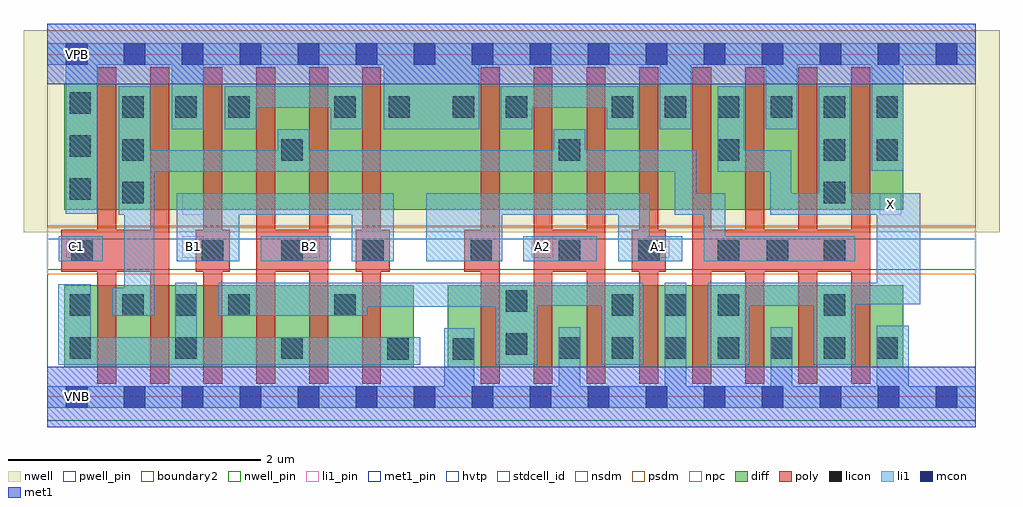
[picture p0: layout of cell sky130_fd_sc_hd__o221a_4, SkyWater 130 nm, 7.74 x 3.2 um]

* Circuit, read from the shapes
.subckt sky130_fd_sc_hd__o221a_4 A1 A2 B1 B2 C1 VGND VNB VPB VPWR X
XM1 n1 C1 n2 VNB sky130_fd_pr__nfet_01v8 w=0.65 l=0.15 m=2
XM2 n3 B1 n2 VNB sky130_fd_pr__nfet_01v8 w=0.65 l=0.15 m=2
XM3 n2 B2 n3 VNB sky130_fd_pr__nfet_01v8 w=0.65 l=0.15 m=2
XM4 n3 A1 VGND VNB sky130_fd_pr__nfet_01v8 w=0.65 l=0.15 m=2
XM5 VGND A2 n3 VNB sky130_fd_pr__nfet_01v8 w=0.65 l=0.15 m=2
XM6 X n1 VGND VNB sky130_fd_pr__nfet_01v8 w=0.65 l=0.15 m=4
XM7 n1 C1 VPWR VPB sky130_fd_pr__pfet_01v8_hvt w=1 l=0.15 m=2
XM8 n4 B1 VPWR VPB sky130_fd_pr__pfet_01v8_hvt w=1 l=0.15 m=2
XM9 n1 B2 n4 VPB sky130_fd_pr__pfet_01v8_hvt w=1 l=0.15 m=2
XM10 n5 A1 VPWR VPB sky130_fd_pr__pfet_01v8_hvt w=1 l=0.15 m=2
XM11 n1 A2 n5 VPB sky130_fd_pr__pfet_01v8_hvt w=1 l=0.15 m=2
XM12 X n1 VPWR VPB sky130_fd_pr__pfet_01v8_hvt w=1 l=0.15 m=4
.ends

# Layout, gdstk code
import gdstk
lib = gdstk.Library(unit=1e-6, precision=1e-09)
def R(c, l, rs):  # rectangles x0, y0, x1, y1
    for r in rs: c.add(gdstk.rectangle(r[:2], r[2:], *l))
def A(c, l, x, y, w, h, nx, ny, dx, dy):  # array of equal rectangles
    R(c, l, [(x+i*dx, y+j*dy, x+i*dx+w, y+j*dy+h) for i in range(nx) for j in range(ny)])
def P(c, l, *ps):  # polygons
    for p in ps: c.add(gdstk.Polygon(p, *l))
nwell_pin = (64, 16)
nwell = (64, 20)
diff = (65, 20)
poly = (66, 20)
licon = (66, 44)
li1_pin = (67, 16)
li1 = (67, 20)
mcon = (67, 44)
met1_pin = (68, 16)
met1 = (68, 20)
hvtp = (78, 44)
stdcell_id = (81, 4)
nsdm = (93, 44)
psdm = (94, 20)
npc = (95, 20)
pwell_pin = (122, 16)
boundary2 = (236, 0)

sky130_fd_sc_hd__o221a_4 = lib.new_cell('sky130_fd_sc_hd__o221a_4')
R(sky130_fd_sc_hd__o221a_4, nwell_pin, [(0.15,2.635,0.32,2.805)])
R(sky130_fd_sc_hd__o221a_4, nwell, [(-0.19,1.305,7.55,2.91)])
R(sky130_fd_sc_hd__o221a_4, diff, [(0.135,0.235,2.905,0.885), (3.175,0.235,6.785,0.885), (0.135,1.485,6.785,2.485)])
P(sky130_fd_sc_hd__o221a_4, poly, [(0.965,2.615),(0.815,2.615),(0.815,1.325),(0.545,1.325),(0.545,2.615),(0.395,2.615),(0.395,1.325),(0.11,1.325),(0.11,0.995),(0.395,0.995),(0.395,0.105),(0.545,0.105),(0.545,0.995),(0.815,0.995),(0.815,0.105),(0.965,0.105)],
  [(1.445,1.325),(1.385,1.325),(1.385,2.615),(1.235,2.615),(1.235,1.325),(1.175,1.325),(1.175,0.995),(1.235,0.995),(1.235,0.105),(1.385,0.105),(1.385,0.995),(1.445,0.995)],
  [(2.225,2.615),(2.075,2.615),(2.075,1.325),(1.805,1.325),(1.805,2.615),(1.655,2.615),(1.655,0.105),(1.805,0.105),(1.805,0.995),(2.075,0.995),(2.075,0.105),(2.225,0.105)],
  [(2.715,1.325),(2.645,1.325),(2.645,2.615),(2.495,2.615),(2.495,1.325),(2.445,1.325),(2.445,0.995),(2.495,0.995),(2.495,0.105),(2.645,0.105),(2.645,0.995),(2.715,0.995)],
  [(3.585,2.615),(3.435,2.615),(3.435,1.325),(3.305,1.325),(3.305,0.995),(3.435,0.995),(3.435,0.105),(3.585,0.105)],
  [(4.425,2.615),(4.275,2.615),(4.275,1.325),(4.005,1.325),(4.005,2.615),(3.855,2.615),(3.855,0.105),(4.005,0.105),(4.005,0.995),(4.275,0.995),(4.275,0.105),(4.425,0.105)],
  [(4.905,1.325),(4.845,1.325),(4.845,2.615),(4.695,2.615),(4.695,1.325),(4.635,1.325),(4.635,0.995),(4.695,0.995),(4.695,0.105),(4.845,0.105),(4.845,0.995),(4.905,0.995)],
  [(6.525,2.615),(6.375,2.615),(6.375,1.325),(6.105,1.325),(6.105,2.615),(5.955,2.615),(5.955,1.325),(5.685,1.325),(5.685,2.615),(5.535,2.615),(5.535,1.325),(5.265,1.325),(5.265,2.615),(5.115,2.615),(5.115,0.105),(5.265,0.105),(5.265,0.995),(5.535,0.995),(5.535,0.105),(5.685,0.105),(5.685,0.995),(5.955,0.995),(5.955,0.105),(6.105,0.105),(6.105,0.995),(6.375,0.995),(6.375,0.105),(6.525,0.105)])
A(sky130_fd_sc_hd__o221a_4, licon, 0.175, 0.305, 0.17, 0.17, 3, 1, 0.84, 0)
A(sky130_fd_sc_hd__o221a_4, licon, 4.055, 0.305, 0.17, 0.17, 7, 1, 0.42, 0)
A(sky130_fd_sc_hd__o221a_4, licon, 0.175, 0.645, 0.17, 0.17, 4, 1, 0.42, 0)
A(sky130_fd_sc_hd__o221a_4, licon, 4.475, 0.645, 0.17, 0.17, 3, 1, 0.42, 0)
A(sky130_fd_sc_hd__o221a_4, licon, 4.055, 1.075, 0.17, 0.17, 3, 1, 0.63, 0)
A(sky130_fd_sc_hd__o221a_4, licon, 0.175, 1.565, 0.17, 0.17, 1, 3, 0, 0.34)
A(sky130_fd_sc_hd__o221a_4, licon, 0.595, 2.215, 0.17, 0.17, 3, 1, 0.42, 0)
A(sky130_fd_sc_hd__o221a_4, licon, 4.475, 2.215, 0.17, 0.17, 6, 1, 0.42, 0)
R(sky130_fd_sc_hd__o221a_4, licon, [(2.695,0.295,2.865,0.465), (3.215,0.295,3.385,0.465), (3.635,0.335,3.805,0.505), (2.275,0.645,2.445,0.815), (6.155,0.645,6.325,0.815), (3.635,0.675,3.805,0.845), (0.19,1.075,0.36,1.245), (1.225,1.075,1.395,1.245), (1.855,1.075,2.025,1.245), (2.495,1.075,2.665,1.245), (3.355,1.075,3.525,1.245), (5.705,1.075,5.875,1.245), (6.155,1.075,6.325,1.245), (0.595,1.535,0.765,1.705), (6.155,1.535,6.325,1.705), (0.595,1.875,0.765,2.045), (1.855,1.875,2.025,2.045), (4.055,1.875,4.225,2.045), (5.315,1.875,5.485,2.045), (6.155,1.875,6.325,2.045), (6.575,1.875,6.745,2.045), (2.275,2.215,2.445,2.385), (2.705,2.215,2.875,2.385), (3.215,2.215,3.385,2.385), (3.635,2.215,3.805,2.385)])
A(sky130_fd_sc_hd__o221a_4, li1_pin, 0.15, 1.105, 0.17, 0.17, 3, 1, 0.92, 0)
R(sky130_fd_sc_hd__o221a_4, li1_pin, [(3.84,1.105,4.01,1.275), (4.76,1.105,4.93,1.275), (1.07,1.445,1.24,1.615), (6.6,1.445,6.77,1.615)])
R(sky130_fd_sc_hd__o221a_4, li1, [(0.09,1.075,0.44,1.275), (1.69,1.075,2.245,1.275), (3.775,1.075,4.355,1.275)])
P(sky130_fd_sc_hd__o221a_4, li1, [(2.745,1.615),(1.025,1.615),(1.025,1.075),(1.52,1.075),(1.52,1.445),(2.415,1.445),(2.415,1.075),(2.745,1.075)],
  [(2.955,0.475),(1.185,0.475),(1.185,0.905),(1.015,0.905),(1.015,0.475),(0.345,0.475),(0.345,0.895),(0.085,0.895),(0.085,0.255),(2.955,0.255)],
  [(4.685,2.465),(3.595,2.465),(3.595,2.125),(3.845,2.125),(3.845,2.295),(4.435,2.295),(4.435,2.125),(4.685,2.125)],
  [(4.725,0.905),(1.355,0.905),(1.355,0.645),(2.535,0.645),(2.535,0.715),(3.555,0.715),(3.555,0.255),(3.885,0.255),(3.885,0.725),(4.395,0.725),(4.395,0.255),(4.725,0.255)],
  [(5.035,1.275),(4.775,1.275),(4.775,1.615),(3.005,1.615),(3.005,1.075),(3.605,1.075),(3.605,1.445),(4.525,1.445),(4.525,1.075),(5.035,1.075)],
  [(6.405,1.275),(5.375,1.275),(5.375,1.615),(5.145,1.615),(5.145,1.955),(4.265,1.955),(4.265,2.125),(4.015,2.125),(4.015,1.955),(2.075,1.955),(2.075,2.125),(1.825,2.125),(1.825,1.955),(0.815,1.955),(0.815,2.465),(0.565,2.465),(0.565,1.445),(0.61,1.445),(0.61,0.865),(0.515,0.865),(0.515,0.645),(0.845,0.645),(0.845,1.785),(4.975,1.785),(4.975,1.445),(5.205,1.445),(5.205,1.075),(6.405,1.075)],
  [(2.495,2.465),(1.405,2.465),(1.405,2.125),(1.655,2.125),(1.655,2.295),(2.245,2.295),(2.245,2.125),(2.495,2.125)],
  [(6.92,1.615),(6.365,1.615),(6.365,2.465),(6.115,2.465),(6.115,1.615),(5.9,1.615),(5.9,1.955),(5.525,1.955),(5.525,2.465),(5.315,2.465),(5.315,1.785),(5.73,1.785),(5.73,1.445),(6.575,1.445),(6.575,0.905),(5.235,0.905),(5.235,0.255),(5.565,0.255),(5.565,0.725),(6.075,0.725),(6.075,0.255),(6.405,0.255),(6.405,0.735),(6.92,0.735)],
  [(7.36,2.805),(0,2.805),(0,2.635),(0.145,2.635),(0.145,1.455),(0.395,1.455),(0.395,2.635),(0.985,2.635),(0.985,2.125),(1.235,2.125),(1.235,2.635),(2.665,2.635),(2.665,2.125),(3.425,2.125),(3.425,2.635),(4.855,2.635),(4.855,2.125),(5.105,2.125),(5.105,2.635),(5.695,2.635),(5.695,2.125),(5.945,2.125),(5.945,2.635),(6.535,2.635),(6.535,1.795),(6.785,1.795),(6.785,2.635),(7.36,2.635)],
  [(7.36,0.085),(6.83,0.085),(6.83,0.565),(6.575,0.565),(6.575,0.085),(5.905,0.085),(5.905,0.555),(5.735,0.555),(5.735,0.085),(5.065,0.085),(5.065,0.905),(4.895,0.905),(4.895,0.085),(4.225,0.085),(4.225,0.555),(4.055,0.555),(4.055,0.085),(3.385,0.085),(3.385,0.545),(3.145,0.545),(3.145,0.085),(0,0.085),(0,-0.085),(7.36,-0.085)])
A(sky130_fd_sc_hd__o221a_4, mcon, 0.145, -0.085, 0.17, 0.17, 16, 2, 0.46, 2.72)
R(sky130_fd_sc_hd__o221a_4, met1_pin, [(0.15,-0.085,0.32,0.085), (0.15,2.635,0.32,2.805)])
R(sky130_fd_sc_hd__o221a_4, hvtp, [(0,1.25,7.36,2.72)])
R(sky130_fd_sc_hd__o221a_4, stdcell_id, [(0,0,7.36,2.72)])
R(sky130_fd_sc_hd__o221a_4, nsdm, [(0,-0.19,7.36,1.015)])
R(sky130_fd_sc_hd__o221a_4, psdm, [(0,1.355,7.36,2.91)])
R(sky130_fd_sc_hd__o221a_4, npc, [(0,0.975,7.36,1.345)])
R(sky130_fd_sc_hd__o221a_4, pwell_pin, [(0.15,-0.085,0.32,0.085)])
R(sky130_fd_sc_hd__o221a_4, boundary2, [(0,0,7.36,2.72)])
sky130_fd_sc_hd__o221a_4.add(gdstk.FlexPath([(0,2.72),(7.36,2.72)], 0.48, ends="flush", simple_path=True, layer=68, datatype=20))  # met1
sky130_fd_sc_hd__o221a_4.add(gdstk.FlexPath([(0,0),(7.36,0)], 0.48, ends="flush", simple_path=True, layer=68, datatype=20))  # met1
sky130_fd_sc_hd__o221a_4.add(gdstk.Label('C1', (0.23,1.19), layer=67, texttype=5))
sky130_fd_sc_hd__o221a_4.add(gdstk.Label('A1', (4.845,1.19), layer=67, texttype=5))
sky130_fd_sc_hd__o221a_4.add(gdstk.Label('A2', (3.925,1.19), layer=67, texttype=5))
sky130_fd_sc_hd__o221a_4.add(gdstk.Label('B1', (1.155,1.19), layer=67, texttype=5))
sky130_fd_sc_hd__o221a_4.add(gdstk.Label('B2', (2.075,1.19), layer=67, texttype=5))
sky130_fd_sc_hd__o221a_4.add(gdstk.Label('X', (6.685,1.53), layer=67, texttype=5))
sky130_fd_sc_hd__o221a_4.add(gdstk.Label('VNB', (0.235,0), layer=64, texttype=59))
sky130_fd_sc_hd__o221a_4.add(gdstk.Label('VPB', (0.235,2.72), layer=64, texttype=5))
sky130_fd_sc_hd__o221a_4.add(gdstk.Label('VGND', (0.235,0), layer=68, texttype=5))
sky130_fd_sc_hd__o221a_4.add(gdstk.Label('VPWR', (0.235,2.72), layer=68, texttype=5))
sky130_fd_sc_hd__o221a_4.add(gdstk.Label('o221a_4', (0,0), layer=83, texttype=44))

lib.write_gds('sky130_fd_sc_hd__o221a_4.gds')
